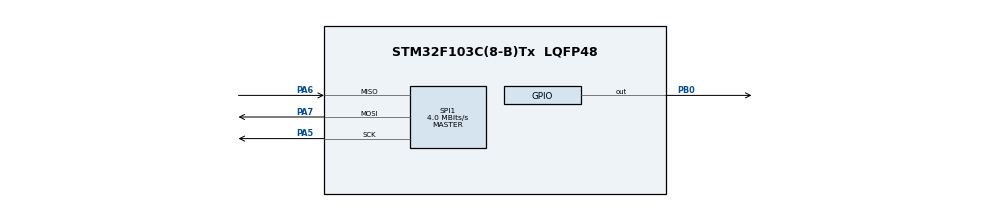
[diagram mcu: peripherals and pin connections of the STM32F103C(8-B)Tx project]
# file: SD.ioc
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FATFS._MAX_SS=4096
FATFS._USE_LFN=1
Mcu.Family=STM32F1
Mcu.Name=STM32F103C(8-B)Tx
Mcu.Package=LQFP48
NVIC.PriorityGroup=NVIC_PRIORITYGROUP_4
PA13.Mode=Serial_Wire
PA13.Signal=SYS_JTMS-SWDIO
PA14.Mode=Serial_Wire
PA14.Signal=SYS_JTCK-SWCLK
PA5.Mode=Full_Duplex_Master
PA5.Signal=SPI1_SCK
PA6.Mode=Full_Duplex_Master
PA6.Signal=SPI1_MISO
PA7.Mode=Full_Duplex_Master
PA7.Signal=SPI1_MOSI
PB0.Signal=GPIO_Output
ProjectManager.HeapSize=0x200
ProjectManager.StackSize=0x400
ProjectManager.TargetToolchain=MDK-ARM V5.32
RCC.APB1Freq_Value=8000000
RCC.APB2Freq_Value=8000000
SPI1.CalculateBaudRate=4.0 MBits/s
SPI1.Direction=SPI_DIRECTION_2LINES
SPI1.Mode=SPI_MODE_MASTER
SPI1.VirtualType=VM_MASTER
VP_FATFS_VS_Generic.Mode=User_defined
board=custom

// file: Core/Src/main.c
/* USER CODE BEGIN Header */
/**
  ******************************************************************************
  * @file           : main.c
  * @brief          : Main program body
  ******************************************************************************
  * @attention
  *
  * Copyright (c) 2025 STMicroelectronics.
  * All rights reserved.
  *
  * This software is licensed under terms that can be found in the LICENSE file
  * in the root directory of this software component.
  * If no LICENSE file comes with this software, it is provided AS-IS.
  *
  ******************************************************************************
  */
/* USER CODE END Header */
#include "main.h"
#include "fatfs.h"
#include "ff.h"
#include "diskio.h"

SPI_HandleTypeDef hspi1;

void SystemClock_Config(void);
static void MX_GPIO_Init(void);
static void MX_SPI1_Init(void);

/* USER CODE BEGIN 0 */

//Variable
FATFS fs;
FIL fil;
FRESULT fr;
UINT bw, br;
char buffer[64];

/* USER CODE END 0 */

int main(void)
{

  /* MCU Configuration--------------------------------------------------------*/

  /* Reset of all peripherals, Initializes the Flash interface and the Systick. */
  HAL_Init();

  /* Configure the system clock */
  SystemClock_Config();

  /* Initialize all configured peripherals */
  MX_GPIO_Init();
  MX_SPI1_Init();
  MX_FATFS_Init();
  /* USER CODE BEGIN 2 */

	fr = f_mount(&fs, "", 1);
	if(fr == FR_OK){
		fr = f_open(&fil, "hoccunget.txt", FA_CREATE_ALWAYS | FA_WRITE);
		if(fr == FR_OK){
			char text[] = "Hello Hoc Cung ET";
			fr = f_write(&fil, text, sizeof(text), &bw);
			if(fr == FR_OK){
			//Success
			}else{
			//Fail
			}
			f_sync(&fil);
			f_close(&fil);
			HAL_Delay(100);
		}

		fr = f_open(&fil,"hoccunget.txt", FA_READ);
		if(fr == FR_OK){
			f_read(&fil, buffer, sizeof(buffer) - 1, &br);
			buffer[br] = '\0';
			f_close(&fil);
		}

	}

  /* USER CODE END 2 */

  /* Infinite loop */
  while (1)
  {

  }
}

void SystemClock_Config(void)
{
  RCC_OscInitTypeDef RCC_OscInitStruct = {0};
  RCC_ClkInitTypeDef RCC_ClkInitStruct = {0};

  /** Initializes the RCC Oscillators according to the specified parameters
  * in the RCC_OscInitTypeDef structure.
  */
  RCC_OscInitStruct.OscillatorType = RCC_OSCILLATORTYPE_HSI;
  RCC_OscInitStruct.HSIState = RCC_HSI_ON;
  RCC_OscInitStruct.HSICalibrationValue = RCC_HSICALIBRATION_DEFAULT;
  RCC_OscInitStruct.PLL.PLLState = RCC_PLL_NONE;
  if (HAL_RCC_OscConfig(&RCC_OscInitStruct) != HAL_OK)
  {
    Error_Handler();
  }

  /** Initializes the CPU, AHB and APB buses clocks
  */
  RCC_ClkInitStruct.ClockType = RCC_CLOCKTYPE_HCLK|RCC_CLOCKTYPE_SYSCLK
                              |RCC_CLOCKTYPE_PCLK1|RCC_CLOCKTYPE_PCLK2;
  RCC_ClkInitStruct.SYSCLKSource = RCC_SYSCLKSOURCE_HSI;
  RCC_ClkInitStruct.AHBCLKDivider = RCC_SYSCLK_DIV1;
  RCC_ClkInitStruct.APB1CLKDivider = RCC_HCLK_DIV1;
  RCC_ClkInitStruct.APB2CLKDivider = RCC_HCLK_DIV1;

  if (HAL_RCC_ClockConfig(&RCC_ClkInitStruct, FLASH_LATENCY_0) != HAL_OK)
  {
    Error_Handler();
  }
}

static void MX_SPI1_Init(void)
{

  /* SPI1 parameter configuration*/
  hspi1.Instance = SPI1;
  hspi1.Init.Mode = SPI_MODE_MASTER;
  hspi1.Init.Direction = SPI_DIRECTION_2LINES;
  hspi1.Init.DataSize = SPI_DATASIZE_8BIT;
  hspi1.Init.CLKPolarity = SPI_POLARITY_LOW;
  hspi1.Init.CLKPhase = SPI_PHASE_1EDGE;
  hspi1.Init.NSS = SPI_NSS_SOFT;
  hspi1.Init.BaudRatePrescaler = SPI_BAUDRATEPRESCALER_2;
  hspi1.Init.FirstBit = SPI_FIRSTBIT_MSB;
  hspi1.Init.TIMode = SPI_TIMODE_DISABLE;
  hspi1.Init.CRCCalculation = SPI_CRCCALCULATION_DISABLE;
  hspi1.Init.CRCPolynomial = 10;
  if (HAL_SPI_Init(&hspi1) != HAL_OK)
  {
    Error_Handler();
  }

}

static void MX_GPIO_Init(void)
{
  GPIO_InitTypeDef GPIO_InitStruct = {0};

  /* GPIO Ports Clock Enable */
  __HAL_RCC_GPIOA_CLK_ENABLE();
  __HAL_RCC_GPIOB_CLK_ENABLE();

  /*Configure GPIO pin Output Level */
  HAL_GPIO_WritePin(GPIOB, GPIO_PIN_0, GPIO_PIN_RESET);

  /*Configure GPIO pin : PB0 */
  GPIO_InitStruct.Pin = GPIO_PIN_0;
  GPIO_InitStruct.Mode = GPIO_MODE_OUTPUT_PP;
  GPIO_InitStruct.Pull = GPIO_NOPULL;
  GPIO_InitStruct.Speed = GPIO_SPEED_FREQ_LOW;
  HAL_GPIO_Init(GPIOB, &GPIO_InitStruct);

}

void Error_Handler(void)
{
  __disable_irq();
  while (1)
  {
  }
}
